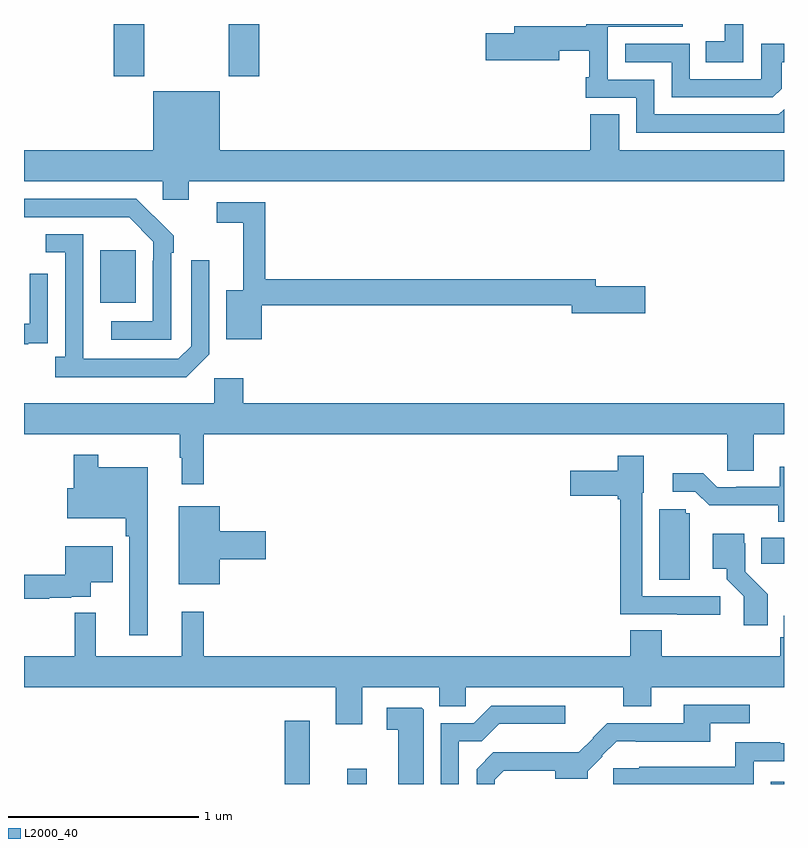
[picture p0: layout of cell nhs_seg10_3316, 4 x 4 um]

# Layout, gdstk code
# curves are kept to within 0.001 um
import gdstk
lib = gdstk.Library(unit=1e-6, precision=1e-09)
def R(c, l, rs):  # rectangles x0, y0, x1, y1
    for r in rs: c.add(gdstk.rectangle(r[:2], r[2:], *l))
def P(c, l, *ps):  # polygons
    for p in ps: c.add(gdstk.Polygon(p, *l))
L2000_40 = (2000, 40)

nhs_seg10_3316 = lib.new_cell('nhs_seg10_3316')
R(nhs_seg10_3316, L2000_40, [(292.373,1274.5,292.504,1274.833), (292.7,1274.5,292.804,1274.581), (294.93,1274.5,295,1274.512), (294.88,1275.658,295,1275.796), (291.401,1277.033,291.589,1277.308), (291.473,1278.225,291.633,1278.5), (292.078,1278.225,292.238,1278.5)])
P(nhs_seg10_3316, L2000_40, [(294.786,1278.5),(294.688,1278.5),(294.688,1278.409),(294.589,1278.409),(294.589,1278.3),(294.786,1278.3)],
  [(295,1278.052),(294.972,1278.024),(294.318,1278.024),(294.318,1278.207),(294.072,1278.207),(294.072,1278.486),(294.466,1278.486),(294.466,1278.5),(293.96,1278.5),(293.96,1278.488),(293.579,1278.488),(293.579,1278.452),(293.43,1278.452),(293.43,1278.31),(293.818,1278.31),(293.818,1278.36),(293.975,1278.36),(293.975,1278.221),(293.956,1278.221),(293.956,1278.111),(294.222,1278.111),(294.222,1277.928),(295,1277.928)],
  [(294.987,1278.159),(294.987,1278.299),(295,1278.299),(295,1278.396),(294.879,1278.396),(294.879,1278.21),(294.504,1278.21),(294.504,1278.396),(294.165,1278.396),(294.165,1278.3),(294.408,1278.3),(294.408,1278.114),(294.942,1278.114)],
  [(291.868,1277.672),(295,1277.672),(295,1277.836),(294.133,1277.836),(294.133,1278.026),(293.981,1278.026),(293.981,1277.836),(292.03,1277.836),(292.03,1278.145),(291.68,1278.145),(291.68,1277.836),(291,1277.836),(291,1277.672),(291.729,1277.672),(291.729,1277.574),(291.868,1277.574)],
  [(291.774,1277.297),(291.789,1277.297),(291.789,1277.385),(291.592,1277.58),(291,1277.58),(291,1277.484),(291.553,1277.484),(291.681,1277.355),(291.681,1277.255),(291.678,1277.255),(291.678,1276.935),(291.459,1276.935),(291.459,1276.839),(291.774,1276.839)],
  [(292.251,1277.02),(293.882,1277.02),(293.882,1276.978),(294.271,1276.978),(294.271,1277.12),(294.01,1277.12),(294.01,1277.156),(292.271,1277.156),(292.271,1277.562),(292.014,1277.562),(292.014,1277.454),(292.154,1277.454),(292.154,1277.098),(292.064,1277.098),(292.064,1276.841),(292.251,1276.841)],
  [(291.975,1276.761),(291.975,1277.257),(291.879,1277.257),(291.879,1276.803),(291.813,1276.737),(291.313,1276.737),(291.312,1277.394),(291.114,1277.394),(291.114,1277.298),(291.216,1277.298),(291.216,1276.75),(291.165,1276.75),(291.165,1276.64),(291.854,1276.64)],
  [(291.023,1276.821),(291.125,1276.821),(291.125,1276.93),(291.126,1276.93),(291.126,1277.185),(291.03,1277.185),(291.03,1276.923),(291,1276.923),(291,1276.815),(291.023,1276.815)],
  [(291.947,1276.34),(294.702,1276.34),(294.702,1276.15),(294.841,1276.15),(294.841,1276.34),(295,1276.34),(295,1276.504),(292.154,1276.504),(292.154,1276.636),(292.002,1276.636),(292.002,1276.504),(291,1276.504),(291,1276.34),(291.819,1276.34),(291.819,1276.217),(291.83,1276.217),(291.83,1276.077),(291.947,1276.077)],
  [(291.652,1276.168),(291.391,1276.168),(291.391,1276.234),(291.262,1276.234),(291.262,1276.057),(291.228,1276.057),(291.228,1275.899),(291.535,1275.899),(291.535,1275.803),(291.555,1275.803),(291.555,1275.282),(291.652,1275.282)],
  [(294.664,1275.489),(294.255,1275.489),(294.255,1276.032),(294.262,1276.032),(294.262,1276.228),(294.126,1276.228),(294.126,1276.15),(293.874,1276.15),(293.874,1276.016),(294.126,1276.016),(294.126,1275.998),(294.139,1275.998),(294.139,1275.393),(294.439,1275.393),(294.439,1275.391),(294.664,1275.391)],
  [(295,1276.171),(294.977,1276.171),(294.977,1276.065),(294.748,1276.065),(294.748,1276.062),(294.648,1276.062),(294.575,1276.135),(294.414,1276.135),(294.414,1276.038),(294.534,1276.038),(294.607,1275.966),(294.97,1275.966),(294.97,1275.881),(295,1275.881)],
  [(292.03,1275.683),(292.273,1275.683),(292.273,1275.83),(292.03,1275.83),(292.03,1275.961),(291.815,1275.961),(291.815,1275.551),(292.03,1275.551)],
  [(294.505,1275.924),(294.483,1275.924),(294.483,1275.945),(294.344,1275.945),(294.344,1275.576),(294.505,1275.576)],
  [(294.914,1275.498),(294.795,1275.617),(294.795,1275.768),(294.79,1275.768),(294.79,1275.817),(294.626,1275.817),(294.626,1275.632),(294.698,1275.632),(294.698,1275.577),(294.789,1275.487),(294.789,1275.336),(294.914,1275.336)],
  [(291.134,1275.48),(291.248,1275.48),(291.248,1275.486),(291.352,1275.486),(291.352,1275.563),(291.466,1275.563),(291.466,1275.751),(291.218,1275.751),(291.218,1275.602),(291,1275.602),(291,1275.474),(291.134,1275.474)],
  [(292.78,1275.008),(293.186,1275.008),(293.186,1274.91),(293.325,1274.91),(293.325,1275.008),(294.154,1275.008),(294.154,1274.909),(294.301,1274.909),(294.301,1275.008),(295,1275.008),(295,1275.385),(294.999,1275.385),(294.999,1275.273),(294.979,1275.273),(294.979,1275.172),(294.356,1275.172),(294.356,1275.308),(294.191,1275.308),(294.191,1275.172),(291.947,1275.172),(291.947,1275.406),(291.83,1275.406),(291.83,1275.172),(291.377,1275.172),(291.377,1275.401),(291.268,1275.401),(291.268,1275.172),(291,1275.172),(291,1275.008),(292.64,1275.008),(292.64,1274.814),(292.78,1274.814)],
  [(293.478,1274.523),(293.526,1274.571),(293.795,1274.571),(293.795,1274.528),(293.966,1274.528),(293.966,1274.568),(294.045,1274.646),(294.042,1274.649),(294.119,1274.726),(294.22,1274.726),(294.22,1274.723),(294.613,1274.723),(294.613,1274.82),(294.82,1274.82),(294.82,1274.916),(294.473,1274.916),(294.473,1274.82),(294.069,1274.82),(293.993,1274.743),(293.995,1274.741),(293.921,1274.668),(293.587,1274.668),(293.587,1274.666),(293.471,1274.666),(293.382,1274.577),(293.382,1274.5),(293.478,1274.5)],
  [(293.289,1274.725),(293.41,1274.725),(293.501,1274.816),(293.848,1274.816),(293.848,1274.913),(293.46,1274.913),(293.367,1274.82),(293.193,1274.82),(293.193,1274.5),(293.289,1274.5)],
  [(293.104,1274.891),(293.094,1274.901),(292.908,1274.901),(292.908,1274.785),(292.97,1274.785),(292.97,1274.5),(293.104,1274.5)],
  [(294.84,1274.619),(295,1274.619),(295,1274.715),(294.979,1274.715),(294.979,1274.719),(294.743,1274.719),(294.743,1274.59),(294.237,1274.59),(294.237,1274.583),(294.102,1274.583),(294.102,1274.5),(294.84,1274.5)])

lib.write_gds('nhs_seg10_3316.gds')
